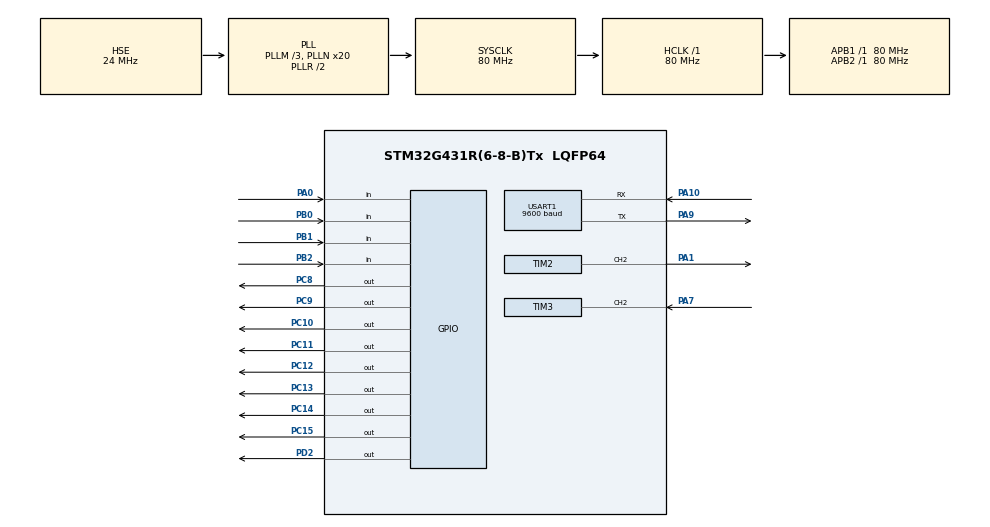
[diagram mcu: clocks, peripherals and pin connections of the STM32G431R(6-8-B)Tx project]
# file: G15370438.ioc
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Mcu.Family=STM32G4
Mcu.Name=STM32G431R(6-8-B)Tx
Mcu.Package=LQFP64
NVIC.PriorityGroup=NVIC_PRIORITYGROUP_4
NVIC.TIM6_DAC_IRQn=true\:0\:0\:false\:false\:true\:true\:true
NVIC.USART1_IRQn=true\:0\:0\:false\:false\:true\:true\:true
PA0.Signal=GPIO_Input
PA1.Signal=S_TIM2_CH2
PA10.Mode=Asynchronous
PA10.Signal=USART1_RX
PA7.Signal=S_TIM3_CH2
PA9.Mode=Asynchronous
PA9.Signal=USART1_TX
PB0.Signal=GPIO_Input
PB1.Signal=GPIO_Input
PB2.Signal=GPIO_Input
PC10.PinState=GPIO_PIN_SET
PC10.Signal=GPIO_Output
PC11.PinState=GPIO_PIN_SET
PC11.Signal=GPIO_Output
PC12.PinState=GPIO_PIN_SET
PC12.Signal=GPIO_Output
PC13.PinState=GPIO_PIN_SET
PC13.Signal=GPIO_Output
PC14-OSC32_IN.PinState=GPIO_PIN_SET
PC14-OSC32_IN.Signal=GPIO_Output
PC15-OSC32_OUT.PinState=GPIO_PIN_SET
PC15-OSC32_OUT.Signal=GPIO_Output
PC8.PinState=GPIO_PIN_SET
PC8.Signal=GPIO_Output
PC9.PinState=GPIO_PIN_SET
PC9.Signal=GPIO_Output
PD2.Signal=GPIO_Output
PF0-OSC_IN.Mode=HSE-External-Oscillator
PF0-OSC_IN.Signal=RCC_OSC_IN
PF1-OSC_OUT.Mode=HSE-External-Oscillator
PF1-OSC_OUT.Signal=RCC_OSC_OUT
ProjectManager.HeapSize=0x200
ProjectManager.StackSize=0x400
ProjectManager.TargetToolchain=MDK-ARM V5.27
RCC.ADC12Freq_Value=80000000
RCC.AHBFreq_Value=80000000
RCC.APB1Freq_Value=80000000
RCC.APB1TimFreq_Value=80000000
RCC.APB2Freq_Value=80000000
RCC.APB2TimFreq_Value=80000000
RCC.CortexFreq_Value=80000000
RCC.EXTERNAL_CLOCK_VALUE=12288000
RCC.HCLKFreq_Value=80000000
RCC.HSE_VALUE=24000000
RCC.HSI48_VALUE=48000000
RCC.HSI_VALUE=16000000
RCC.LSE_VALUE=32768
RCC.PLLM=RCC_PLLM_DIV3
RCC.PLLN=20
RCC.PLLSourceVirtual=RCC_PLLSOURCE_HSE
RCC.SYSCLKFreq_VALUE=80000000
RCC.SYSCLKSource=RCC_SYSCLKSOURCE_PLLCLK
RCC.USBFreq_Value=80000000
RCC.VCOOutputFreq_Value=160000000
SH.S_TIM2_CH2.0=TIM2_CH2,PWM Generation2 CH2
SH.S_TIM3_CH2.0=TIM3_CH2,Input_Capture2_from_TI2
TIM2.AutoReloadPreload=TIM_AUTORELOAD_PRELOAD_ENABLE
TIM2.Channel-PWM\ Generation2\ CH2=TIM_CHANNEL_2
TIM2.PeriodNoDither=999
TIM2.Prescaler=79
TIM2.PulseNoDither_2=500
TIM3.AutoReloadPreload=TIM_AUTORELOAD_PRELOAD_ENABLE
TIM3.Channel-Input_Capture2_from_TI2=TIM_CHANNEL_2
TIM3.Prescaler=79
TIM6.AutoReloadPreload=TIM_AUTORELOAD_PRELOAD_ENABLE
TIM6.PeriodNoDither=999
TIM6.Prescaler=79
USART1.BaudRate=9600
USART1.VirtualMode-Asynchronous=VM_ASYNC
VP_SYS_VS_DBSignals.Mode=DisableDeadBatterySignals
VP_TIM2_VS_ClockSourceINT.Mode=Internal
VP_TIM6_VS_ClockSourceINT.Mode=Enable_Timer
board=custom

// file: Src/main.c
/* USER CODE BEGIN Header */
/**
  ******************************************************************************
  * @file           : main.c
  * @brief          : Main program body
  ******************************************************************************
  * @attention
  *
  * <h2><center>&copy; Copyright (c) 2024 STMicroelectronics.
  * All rights reserved.</center></h2>
  *
  * This software component is licensed by ST under BSD 3-Clause license,
  * the "License"; You may not use this file except in compliance with the
  * License. You may obtain a copy of the License at:
  *                        opensource.org/licenses/BSD-3-Clause
  *
  ******************************************************************************
  */
/* USER CODE END Header */
#include "main.h"
#include "tim.h"
#include "usart.h"
#include "gpio.h"

/* USER CODE BEGIN Includes */
#include "lcd.h"
#include <stdio.h>
#include "led.h"
/* USER CODE END Includes */

/* USER CODE BEGIN PTD */
typedef enum
{
	Key_Check,
	Key_Press,
	Key_Release,
	Key_Over
}Key_State;
/* USER CODE END PTD */

/* USER CODE BEGIN PD */
#define K1 HAL_GPIO_ReadPin(GPIOB, GPIO_PIN_0)
#define K2 HAL_GPIO_ReadPin(GPIOB, GPIO_PIN_1)
#define K3 HAL_GPIO_ReadPin(GPIOB, GPIO_PIN_2)
#define K4 HAL_GPIO_ReadPin(GPIOA, GPIO_PIN_0)

#define Press   GPIO_PIN_RESET
#define Release GPIO_PIN_SET
/* USER CODE END PD */

/* USER CODE BEGIN PV */
uint8_t RX[7], Str[20];
uint8_t KeyNum;
uint32_t LED_Start_Time, Key_Press_Time = 20, LED2_Start_Time, LED2_Last_Time;
Key_State KeyState = Key_Check;
uint16_t B1 = '@', B2 = '@', B3 = '@', ShowSelect;
uint16_t Freq, Duty;
uint16_t Code_Key = 0, Code_UART = 123;
uint8_t Flag_5s;
uint8_t Flag_PWM_LED, Error_Count;
/* USER CODE END PV */

void SystemClock_Config(void);
/* USER CODE BEGIN PFP */
void Key_Scan(void);
void LCD_Show(void);

/* USER CODE END PFP */

/* USER CODE BEGIN 0 */
void HAL_UART_RxCpltCallback(UART_HandleTypeDef *huart)
{
	HAL_UART_Transmit_IT(&huart1, (uint8_t *)RX, 7);
	if((Code_UART / 100) == RX[0] - 48 && (Code_UART / 10 % 10) == RX[1] - 48 && (Code_UART % 10) == RX[2] - 48 )//当前密码正确
	{
		Code_UART = (uint8_t)(RX[4] - 48) * 100 + (uint8_t)(RX[5] - 48) * 10 + (uint8_t)(RX[6] - 48);
	}
	HAL_UART_Receive_IT(&huart1, RX, 7);
}

void HAL_TIM_PeriodElapsedCallback(TIM_HandleTypeDef * htim)
{
	if(Flag_PWM_LED == 1)
    {
	    if(++LED_Start_Time == 5000)
	    {
		    LED_Start_Time = 0;
		    Flag_5s = 1;
			Flag_PWM_LED = 0;
	    }
	}
	if(Error_Count == 3)
	{
		if(++LED2_Start_Time == 100)
		{
			LED2_Start_Time = 0;
			LED_TRG(2);
		}
		if(++LED2_Last_Time == 5000)
		{
			LED2_Last_Time = 0;
			Error_Count = 0;
		}
	}

}
/* USER CODE END 0 */

int main(void)
{

  /* MCU Configuration--------------------------------------------------------*/

  /* Reset of all peripherals, Initializes the Flash interface and the Systick. */
  HAL_Init();

  /* Configure the system clock */
  SystemClock_Config();

  /* Initialize all configured peripherals */
  MX_GPIO_Init();
  MX_TIM2_Init();
  MX_USART1_UART_Init();
  MX_TIM6_Init();
  MX_TIM3_Init();
  /* USER CODE BEGIN 2 */
  LED_Init();

  LCD_Init();
  LCD_Clear(Black);
  LCD_SetBackColor(Black);
  LCD_SetTextColor(White);

  HAL_UART_Receive_IT(&huart1, RX, 7);

  HAL_TIM_Base_Start_IT(&htim6);
   __HAL_TIM_CLEAR_IT(&htim6, TIM_FLAG_UPDATE);

  HAL_TIM_PWM_Start_IT(&htim2, TIM_CHANNEL_2);
  __HAL_TIM_CLEAR_IT(&htim2, TIM_CHANNEL_2);

  /* USER CODE END 2 */

  /* Infinite loop */
  /* USER CODE BEGIN WHILE */
  while (1)
  {
	  if(KeyState == Key_Over)
	  {
		  KeyState = Key_Check;
		  if(KeyNum == 1)
		  {
			  if(ShowSelect == 0)
			  {
				  if(B1 == '@')B1 = 0;
				  else
				  {
					  B1 ++;
					  if(B1 >= 10)B1 = 0;
				  }
			  }
		  }
		  else if(KeyNum == 2)
		  {
			  if(ShowSelect == 0)
			  {
				  if(B2 == '@')B2 = 0;
				  else
				  {
					  B2 ++;
					  if(B2 >= 10)B2 = 0;
				  }
			  }
		  }
		  else if(KeyNum == 3)
		  {
			  if(ShowSelect == 0)
			  {
				  if(B3 == '@')B3 = 0;
				  else
				  {
					  B3 ++;
					  if(B3 >= 10)B3 = 0;
				  }
			  }
		  }
		  else if(KeyNum == 4)
		  {
			  if(ShowSelect == 0)
			  {
				  Code_Key = 0;
				  if(B1 == 0)Code_Key = B2 * 10 + B3;
				  else  Code_Key = B1 * 100 + B2 * 10 + B3;
				  if(Code_Key != Code_UART)
				  {
					  Error_Count++;
					  if(Error_Count == 4)Error_Count = 1;

					  B1 = '@';B2 = '@';B3 = '@';
				  }
			  }
		  }
		  Key_Press_Time = 0;
	  }

	  if(Code_Key != Code_UART)
	  {
		  __HAL_TIM_PRESCALER(&htim2, 79);
		  __HAL_TIM_SET_COMPARE(&htim2, TIM_CHANNEL_2, 500);
	  }
	  else//密码相同�?
	  {
		  if(ShowSelect == 0)
		  {
			  ShowSelect = 1;
		  }
		  if(Flag_5s == 1)
		  {
			  LED_OFF(1);
			  Code_Key = 0;
			  __HAL_TIM_PRESCALER(&htim2, 79);
			  __HAL_TIM_SET_COMPARE(&htim2, TIM_CHANNEL_2, 500);
			  Duty = 50;
			  Freq = 1000;
			  ShowSelect = 0;
			  B1 = '@';B2 = '@';B3 = '@';
			  Flag_5s = 0;
		  }
		  else
		  {
			  Flag_PWM_LED = 1;
			  LED_ON(1);
			  __HAL_TIM_PRESCALER(&htim2, 39);
			  __HAL_TIM_SET_COMPARE(&htim2, TIM_CHANNEL_2, 100);
			  Duty = 10;
			  Freq = 2000;
		  }
	  }

	  LCD_Show();
	  sprintf((char *)Str, "Code_Key:%d ", Code_Key);
	  LCD_DisplayStringLine(Line8, Str);
	  sprintf((char *)Str, "Code_UART:%d", Code_UART);
	  LCD_DisplayStringLine(Line9, Str);

    /* USER CODE END WHILE */

  }
}

void SystemClock_Config(void)
{
  RCC_OscInitTypeDef RCC_OscInitStruct = {0};
  RCC_ClkInitTypeDef RCC_ClkInitStruct = {0};
  RCC_PeriphCLKInitTypeDef PeriphClkInit = {0};

  /** Configure the main internal regulator output voltage
  */
  HAL_PWREx_ControlVoltageScaling(PWR_REGULATOR_VOLTAGE_SCALE1);
  /** Initializes the RCC Oscillators according to the specified parameters
  * in the RCC_OscInitTypeDef structure.
  */
  RCC_OscInitStruct.OscillatorType = RCC_OSCILLATORTYPE_HSE;
  RCC_OscInitStruct.HSEState = RCC_HSE_ON;
  RCC_OscInitStruct.PLL.PLLState = RCC_PLL_ON;
  RCC_OscInitStruct.PLL.PLLSource = RCC_PLLSOURCE_HSE;
  RCC_OscInitStruct.PLL.PLLM = RCC_PLLM_DIV3;
  RCC_OscInitStruct.PLL.PLLN = 20;
  RCC_OscInitStruct.PLL.PLLP = RCC_PLLP_DIV2;
  RCC_OscInitStruct.PLL.PLLQ = RCC_PLLQ_DIV2;
  RCC_OscInitStruct.PLL.PLLR = RCC_PLLR_DIV2;
  if (HAL_RCC_OscConfig(&RCC_OscInitStruct) != HAL_OK)
  {
    Error_Handler();
  }
  /** Initializes the CPU, AHB and APB buses clocks
  */
  RCC_ClkInitStruct.ClockType = RCC_CLOCKTYPE_HCLK|RCC_CLOCKTYPE_SYSCLK
                              |RCC_CLOCKTYPE_PCLK1|RCC_CLOCKTYPE_PCLK2;
  RCC_ClkInitStruct.SYSCLKSource = RCC_SYSCLKSOURCE_PLLCLK;
  RCC_ClkInitStruct.AHBCLKDivider = RCC_SYSCLK_DIV1;
  RCC_ClkInitStruct.APB1CLKDivider = RCC_HCLK_DIV1;
  RCC_ClkInitStruct.APB2CLKDivider = RCC_HCLK_DIV1;

  if (HAL_RCC_ClockConfig(&RCC_ClkInitStruct, FLASH_LATENCY_2) != HAL_OK)
  {
    Error_Handler();
  }
  /** Initializes the peripherals clocks
  */
  PeriphClkInit.PeriphClockSelection = RCC_PERIPHCLK_USART1;
  PeriphClkInit.Usart1ClockSelection = RCC_USART1CLKSOURCE_PCLK2;
  if (HAL_RCCEx_PeriphCLKConfig(&PeriphClkInit) != HAL_OK)
  {
    Error_Handler();
  }
}

/* USER CODE BEGIN 4 */
void LCD_Show(void)
{
  if(ShowSelect == 0)//密码输入界面
  {
	  LCD_DisplayStringLine(Line1, (uint8_t *)"       PSD");

	  if(B1 == '@')
	  {
		  sprintf((char *)Str, "    B1:%c     ", B1);
		  LCD_DisplayStringLine(Line3, Str);
	  }
	  else
	  {
		  sprintf((char *)Str, "    B1:%1d     ", B1);
		  LCD_DisplayStringLine(Line3, Str);
	  }
	  if(B2 == '@')
	  {
		  sprintf((char *)Str, "    B2:%c      ", B2);
		  LCD_DisplayStringLine(Line4, Str);
	  }
	  else
	  {
		  sprintf((char *)Str, "    B2:%1d      ", B2);
		  LCD_DisplayStringLine(Line4, Str);
	  }
	  if(B3 == '@')
	  {
		  sprintf((char *)Str, "    B3:%c       ", B3);
		  LCD_DisplayStringLine(Line5, Str);
	  }
	  else
	  {
		  sprintf((char *)Str, "    B3:%1d      ", B3);
		  LCD_DisplayStringLine(Line5, Str);
	  }
  }
  else//输出状�?�界�?
  {
	  LCD_DisplayStringLine(Line1, (uint8_t *)"       STA");
	  sprintf((char *)Str, "    F:%dHZ        ", Freq);
	  LCD_DisplayStringLine(Line3, Str);
	  sprintf((char *)Str, "    D:%2d%%       ", Duty);
	  LCD_DisplayStringLine(Line4, Str);
	  LCD_DisplayStringLine(Line5, (uint8_t *)"           ");
  }
}
void Key_Scan(void)
{
	switch (KeyState)
	{
		case Key_Check:
		{
			if(K1 == Press || K2 == Press || K3 == Press || K4 == Press)
			{
				KeyState = Key_Press;
			}
		}
		break;
		case Key_Press:
		{
			if(K1 == Press)KeyNum = 1;
			else if(K2 == Press)KeyNum = 2;
			else if(K3 == Press)KeyNum = 3;
			else if(K4 == Press)KeyNum = 4;
			KeyState = Key_Release;
		}
		break;
		case Key_Release:
		{
			if(K1 == Press || K2 == Press || K3 == Press || K4 == Press)
			{
				Key_Press_Time += 10;
			}
			else
			{
				KeyState = Key_Over;
			}
		}
		break;
		default:
		break;
	}
}
/* USER CODE END 4 */

void Error_Handler(void)
{
}

/************************ (C) COPYRIGHT STMicroelectronics *****END OF FILE****/
